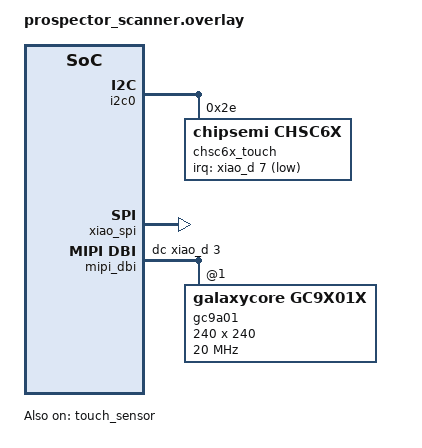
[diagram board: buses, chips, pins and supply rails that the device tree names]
#include <zephyr/dt-bindings/display/panel.h>

/ {
    chosen {
        /* 画面の出力先を、新設する丸型ディスプレイに向ける */
        zephyr,display = &gc9a01;
    };
};

/* 元のモジュールがKconfig上で CST816S を強制要求するため、ダミーのエントリを作成してビルドエラーを回避する。
 * 通信や割り込みピンには使っていないピン(P0.02)をアサインして悪影響が出ないようにする。 */
&touch_sensor {
    status = "okay";
    /delete-property/ irq-gpios;
    /delete-property/ rst-gpios;
    irq-gpios = <&xiao_d 0 (GPIO_ACTIVE_LOW | GPIO_PULL_UP)>;
    rst-gpios = <&xiao_d 0 GPIO_ACTIVE_LOW>;
};

/* XIAO Round Display のタッチセンサー (CHSC6416) を I2C0 に追加 */
&i2c0 {
    status = "okay";
    chsc6x_touch: chsc6x@2e {
        compatible = "chipsemi,chsc6x";
        reg = <0x2e>;
        irq-gpios = <&xiao_d 7 GPIO_ACTIVE_LOW>;
        /* width/height properties can be configured here if necessary */
    };
};

/* 既存の四角ディスプレイは、中身をいじらずに電源だけ切る（エラー回避） */
&st7789v {
    status = "disabled";
};



/* * SPIバスの管理枠を2つに増やします。
 * [0] = 元のディスプレイ用 (ダミーとして残す)
 * [1] = 新しい丸型ディスプレイ用 (CSピン = D1)
 */
&xiao_spi {
    status = "okay";
    cs-gpios = <&xiao_d 9 GPIO_ACTIVE_LOW>, <&xiao_d 1 GPIO_ACTIVE_LOW>;
};

/* ディスプレイの通信バス（MIPI-DBI）の設定を上書き */
&{/mipi_dbi} {
    /* SPI通信のデバイスを xiao_spi (デフォルトSPI2) に向けるように変更 */
    spi-dev = <&xiao_spi>;

    /* XIAO Round Display の DCピン(D3) に変更 */
    dc-gpios = <&xiao_d 3 GPIO_ACTIVE_HIGH>;
    /* D3ピンが元のリセットピン設定と被るのを防ぐため、リセット設定を消去 */
    /delete-property/ reset-gpios;

    /* アドレス「1」に、丸型ディスプレイを新規登録する */
    gc9a01: gc9x01x@1 {
        status = "okay";
        compatible = "galaxycore,gc9x01x";
        reg = <1>;  /* cs-gpios の [1] 番目を使うという意味 */
        mipi-max-frequency = <20000000>;
        pixel-format = <PANEL_PIXEL_FORMAT_RGB_565>;
        width = <240>;
        height = <240>;
        /* Hardware rotation: Type-C port at the bottom (90 degrees CW) */
        orientation = "90";
    };
};
